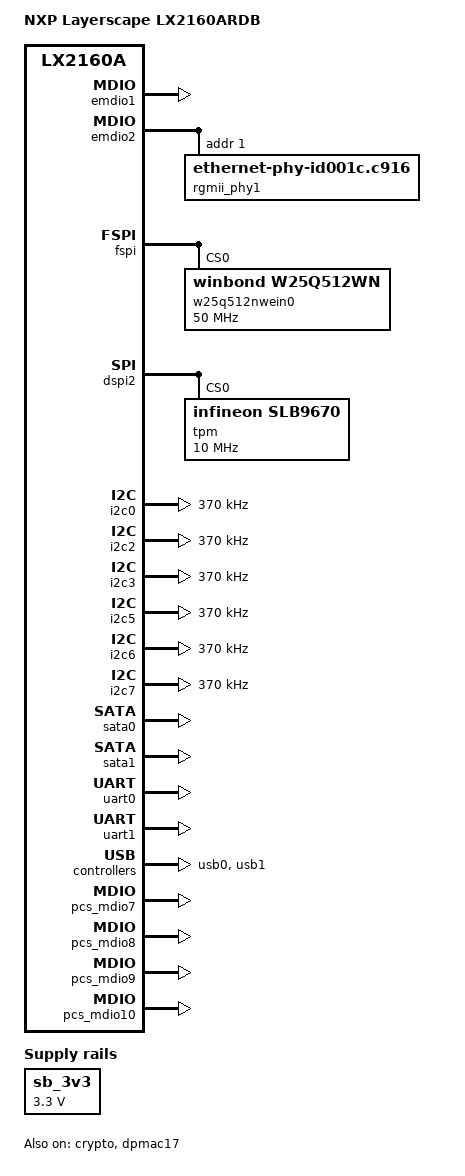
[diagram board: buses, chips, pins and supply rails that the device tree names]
// SPDX-License-Identifier: (GPL-2.0 OR MIT)
//
// Device Tree file for LX2160ARDB
//
// Copyright 2018-2020 NXP

/dts-v1/;
#include "accton-as4561-52p5.dtsi"

/ {
	model = "NXP Layerscape LX2160ARDB";
	compatible = "fsl,lx2160a-rdb", "fsl,lx2160a";

	aliases {
		crypto = &crypto;
		serial0 = &uart0;
	};

	chosen {
		stdout-path = "serial0:115200n8";
	};

	sb_3v3: regulator-sb3v3 {
		compatible = "regulator-fixed";
		regulator-name = "MC34717-3.3VSB";
		regulator-min-microvolt = <3300000>;
		regulator-max-microvolt = <3300000>;
		regulator-boot-on;
		regulator-always-on;
	};
};

&can0 {
	status = "disabled";
};

&can1 {
	status = "disabled";
};

&crypto {
	status = "okay";
};

&dpmac17 {
	status = "okay";
	phy-handle = <&rgmii_phy1>;
	phy-connection-type = "rgmii-id";
};


&emdio1 {
	status = "okay";
};

&emdio2 {
	status = "okay";
	rgmii_phy1: ethernet-phy@1 {
                //compatible = "ethernet-phy-id004d.d072";
                compatible = "ethernet-phy-id001c.c916";
                reg = <0x1>;
        };
};

&esdhc0 {
	status = "disabled";
};

&fspi {
	status = "okay";

	w25q512nwein0: flash@0 {
                #address-cells = <1>;
                #size-cells = <1>;
                compatible = "winbond,w25q512wn", "jedec,spi-nor";
                m25p,fast-read;
                spi-max-frequency = <50000000>;
                reg = <0>;
                spi-rx-bus-width = <8>;
                spi-tx-bus-width = <1>;
        };

};

&dspi2 {
        status = "okay";

        tpm@0 {
                compatible = "infineon,slb9670", "tcg,tpm_tis-spi";
                reg = <0>;
                spi-max-frequency = <10000000>;
        };

};

&i2c0 {
	status = "okay";
	clock-frequency = <370000>;
};

&i2c2 {
	status = "okay";
	clock-frequency = <370000>;
};

&i2c3 {
        status = "okay";
	clock-frequency = <370000>;
};

&i2c5 {
        status = "okay";
	clock-frequency = <370000>;
};

&i2c6 {
        status = "okay";
	clock-frequency = <370000>;
};

&i2c7 {
        status = "okay";
	clock-frequency = <370000>;
};

&sata0 {
	status = "okay";
};

&sata1 {
	status = "okay";
};

&uart0 {
	status = "okay";
};

&uart1 {
	status = "okay";
};

&usb0 {
	status = "okay";
};

&usb1 {
	status = "okay";
};

&pcs_mdio7 {
        status = "okay";

};

&pcs7 {
        compatible = "ethernet-phy-ieee802.3-c45";
        backplane-mode = "10gbase-kr";
        reg = <0x0>;
        fsl,lane-handle = <&serdes1>;
        fsl,lane-reg = <0xB00 0x100>; /* lane D */
};

&pcs_mdio8 {
        status = "okay";
};

&pcs8 {
        compatible = "ethernet-phy-ieee802.3-c45";
        backplane-mode = "10gbase-kr";
        reg = <0x0>;
        fsl,lane-handle = <&serdes1>;
        fsl,lane-reg = <0xA00 0x100>; /* lane C */
};

&pcs_mdio9 {
        status = "okay";
};

&pcs9 {
        compatible = "ethernet-phy-ieee802.3-c45";
        backplane-mode = "10gbase-kr";
        reg = <0x0>;
        fsl,lane-handle = <&serdes1>;
        fsl,lane-reg = <0x900 0x100>; /* lane B */
};

&pcs_mdio10 {
        status = "okay";
};

&pcs10 {
        compatible = "ethernet-phy-ieee802.3-c45";
        backplane-mode = "10gbase-kr";
        reg = <0x0>;
        fsl,lane-handle = <&serdes1>;
        fsl,lane-reg = <0x800 0x100>; /* lane A */
};



&dpmac7 {
	phy-handle = <&pcs7>;
        phy-connection-type = "10gbase-kr";
};

&dpmac8 {
	phy-handle = <&pcs8>;
        phy-connection-type = "10gbase-kr";
};

&dpmac9 {
	phy-handle = <&pcs9>;
        phy-connection-type = "10gbase-kr";
};

&dpmac10 {
        phy-handle = <&pcs10>;
        phy-connection-type = "10gbase-kr";
};


